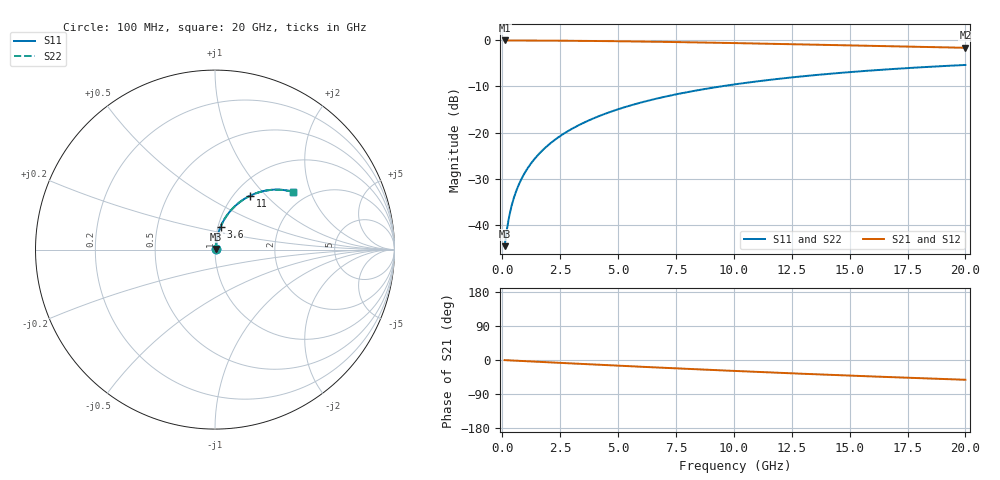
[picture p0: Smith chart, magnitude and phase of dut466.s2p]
! Touchstone file exported from HFSS 2026.1.0
!  File:  C:/ffzhzh/LocalFiles/Ansys_Project_Files/temp_train_TMRDL_466_1783006114_4048.aedt
!  Generated:  11:30:06 PM Jul  2, 2026
!  Design:  TMRDL
!  Project:  temp_train_TMRDL_466_1783006114_4048
! Variables:
!  h_bsmrdl = 2um
!  h_ox = 20um
!  h_rdl = 5um
!  h_sub = 80um
!  h_tmrdl = 3.49um
!  h_tsv = 80um
!  h_via = 3um
!  l_bsmrdl = 300um
!  l_sub = 1125.49um
!  l_tmrdl = 725.49um
!  m_sub = 200um
!  pitch = 56.89um
!  r_tsv = 6um
!  s_tmrdl = 10um
!  w_bsmrdl = 18um
!  w_sub = 500um
!  w_tmrdl = 17.2um
!  x_tsv_center1 = 734.09um
!  x_tsv_center2 = 1052.09um
!  x_tsv_center3 = 1794.78um
!  x_tsv_center4 = 2112.78um
!  x_tsv_center5 = 2855.47um
!  x_tsv_center6 = 3173.47um
# GHz S MA R 50.000000
! Terminal data exported
! Port[1] = TM_RDL1_1_T1
! Port[2] = TM_RDL1_1_T2
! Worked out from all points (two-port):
!   200 points, 100 MHz to 20 GHz, reference 50 ohm
!   highest |S21| = -0.04 dB at 100 MHz (marker M1); lowest = -1.6 dB at 20 GHz (marker M2)
!   |S21| within 3 dB of the highest: start of sweep to end of sweep
!   lowest |S11| = -44.6 dB at 100 MHz (marker M3), VSWR 1.01, Z = 50.4 + j0.39 ohm
!   |S11| at or under -10 dB: start of sweep to 9.44 GHz
!   |S22| runs from -44.6 to -5.4 dB; largest |S21 - S12| = 2e-15
!   S11 on the Smith chart (normalised r, x): 100 MHz: 1.01, +0.01; 3.6 GHz: 1.03, +0.27; 11 GHz: 1.18, +0.81; 20 GHz: 1.67, +1.52
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0.1  0.005865 41.3  0.9956 -0.3  0.9956 -0.3  0.005865 41.3
! Gamma 0 0 0 0
! Port Impedance 50 0 50 0
0.2  0.008952 59.2  0.9955 -0.6  0.9955 -0.6  0.008952 59.2
0.3  0.01243 67.2  0.9953 -0.9  0.9953 -0.9  0.01243 67.2
0.4  0.016 71.4  0.9951 -1.2  0.9951 -1.2  0.016 71.4
0.5  0.01959 73.9  0.9949 -1.5  0.9949 -1.5  0.01959 73.9
0.6  0.02319 75.6  0.9947 -1.9  0.9947 -1.9  0.02319 75.6
0.8  0.03038 77.7  0.9944 -2.5  0.9944 -2.5  0.03038 77.7
1.1  0.0412 79.1  0.9938 -3.4  0.9938 -3.4  0.0412 79.1
1.5  0.05564 79.7  0.993 -4.6  0.993 -4.6  0.05564 79.7
2.1  0.07728 79.3  0.9913 -6.4  0.9913 -6.4  0.07728 79.3
2.7  0.09878 78.3  0.9891 -8.2  0.9891 -8.2  0.09878 78.3
3.5  0.1271 76.5  0.9854 -10.6  0.9854 -10.6  0.1271 76.5
3.6  0.1306 76.3  0.9849 -10.9  0.9849 -10.9  0.1306 76.2
4.3  0.1549 74.5  0.9809 -12.9  0.9809 -12.9  0.1549 74.5
5  0.1787 72.7  0.9764 -15.0  0.9764 -15.0  0.1787 72.6
6.8  0.2374 67.8  0.9627 -20.1  0.9627 -20.1  0.2374 67.8
8.3  0.2833 63.8  0.9494 -24.2  0.9494 -24.2  0.2833 63.8
10.1  0.3345 59.2  0.9319 -29.0  0.9319 -29.0  0.3345 59.1
11  0.3584 56.9  0.9226 -31.4  0.9226 -31.4  0.3584 56.9
13.4  0.4169 51.1  0.8972 -37.4  0.8972 -37.4  0.4169 51.0
16.7  0.4851 43.5  0.8621 -45.0  0.8621 -45.0  0.4851 43.5
20  0.5401 36.6  0.8291 -52.1  0.8291 -52.1  0.5401 36.5
